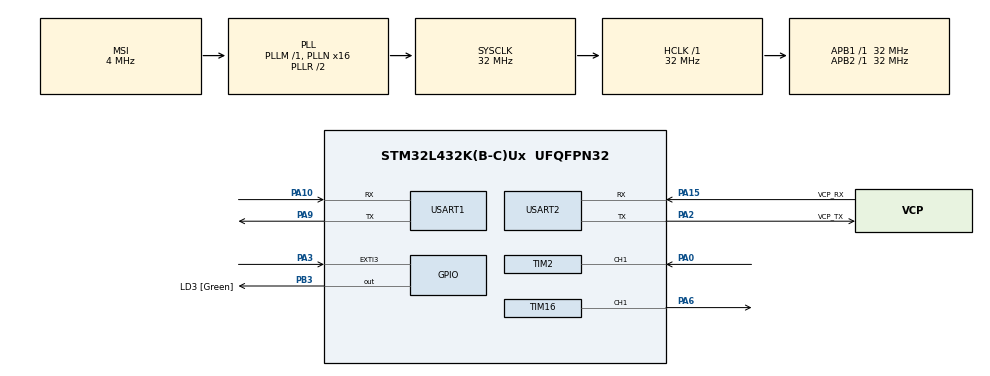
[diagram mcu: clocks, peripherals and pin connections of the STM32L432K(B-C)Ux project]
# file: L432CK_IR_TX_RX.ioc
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Dma.Request0=USART1_RX
Dma.Request1=USART1_TX
Dma.USART1_RX.0.Direction=DMA_PERIPH_TO_MEMORY
Dma.USART1_RX.0.Instance=DMA1_Channel5
Dma.USART1_RX.0.MemDataAlignment=DMA_MDATAALIGN_BYTE
Dma.USART1_RX.0.MemInc=DMA_MINC_ENABLE
Dma.USART1_RX.0.Mode=DMA_CIRCULAR
Dma.USART1_RX.0.PeriphDataAlignment=DMA_PDATAALIGN_BYTE
Dma.USART1_RX.0.PeriphInc=DMA_PINC_DISABLE
Dma.USART1_RX.0.Priority=DMA_PRIORITY_HIGH
Dma.USART1_TX.1.Direction=DMA_MEMORY_TO_PERIPH
Dma.USART1_TX.1.Instance=DMA1_Channel4
Dma.USART1_TX.1.MemDataAlignment=DMA_MDATAALIGN_BYTE
Dma.USART1_TX.1.MemInc=DMA_MINC_ENABLE
Dma.USART1_TX.1.Mode=DMA_NORMAL
Dma.USART1_TX.1.PeriphDataAlignment=DMA_PDATAALIGN_BYTE
Dma.USART1_TX.1.PeriphInc=DMA_PINC_DISABLE
Dma.USART1_TX.1.Priority=DMA_PRIORITY_LOW
Mcu.Family=STM32L4
Mcu.Name=STM32L432K(B-C)Ux
Mcu.Package=UFQFPN32
NVIC.DMA1_Channel4_IRQn=true\:0\:0\:false\:false\:true\:false\:true\:true
NVIC.DMA1_Channel5_IRQn=true\:0\:0\:false\:false\:true\:false\:true\:true
NVIC.EXTI3_IRQn=true\:3\:0\:true\:false\:true\:true\:true\:true
NVIC.PriorityGroup=NVIC_PRIORITYGROUP_4
NVIC.TIM1_BRK_TIM15_IRQn=true\:2\:0\:true\:false\:true\:true\:true\:true
NVIC.TIM2_IRQn=true\:1\:0\:true\:false\:true\:true\:true\:true
NVIC.USART1_IRQn=true\:0\:0\:false\:false\:true\:true\:true\:true
PA0.Signal=S_TIM2_CH1
PA10.Mode=Asynchronous
PA10.Signal=USART1_RX
PA13\ (JTMS-SWDIO).GPIO_Label=SWDIO
PA13\ (JTMS-SWDIO).Mode=Serial_Wire
PA13\ (JTMS-SWDIO).Signal=SYS_JTMS-SWDIO
PA14\ (JTCK-SWCLK).GPIO_Label=SWCLK
PA14\ (JTCK-SWCLK).Mode=Serial_Wire
PA14\ (JTCK-SWCLK).Signal=SYS_JTCK-SWCLK
PA15\ (JTDI).GPIO_Label=VCP_RX
PA15\ (JTDI).Mode=Asynchronous
PA15\ (JTDI).Signal=USART2_RX
PA2.GPIO_Label=VCP_TX
PA2.Mode=Asynchronous
PA2.Signal=USART2_TX
PA3.Signal=GPXTI3
PA6.Signal=S_TIM16_CH1
PA9.Mode=Asynchronous
PA9.Signal=USART1_TX
PB3\ (JTDO-TRACESWO).GPIO_Label=LD3 [Green]
PB3\ (JTDO-TRACESWO).Signal=GPIO_Output
ProjectManager.HeapSize=0x200
ProjectManager.StackSize=0x400
ProjectManager.TargetToolchain=MDK-ARM V5.32
RCC.AHBFreq_Value=32000000
RCC.APB1Freq_Value=32000000
RCC.APB1TimFreq_Value=32000000
RCC.APB2Freq_Value=32000000
RCC.APB2TimFreq_Value=32000000
RCC.CortexFreq_Value=32000000
RCC.HCLKFreq_Value=32000000
RCC.HSE_VALUE=8000000
RCC.HSI16_VALUE=16000000
RCC.HSI48_VALUE=48000000
RCC.HSI_VALUE=16000000
RCC.LSE_VALUE=32768
RCC.MSI_VALUE=4000000
RCC.PLLMUL=RCC_PLLMUL_4
RCC.PLLN=16
RCC.SYSCLKFreq_VALUE=32000000
RCC.SYSCLKSource=RCC_SYSCLKSOURCE_PLLCLK
RCC.VCOOutputFreq_Value=64000000
SH.S_TIM16_CH1.0=TIM16_CH1,PWM Generation1 CH1
SH.S_TIM2_CH1.0=TIM2_CH1,PWM_Input_1
TIM15.AutoReloadPreload=TIM_AUTORELOAD_PRELOAD_ENABLE
TIM15.Period=888
TIM15.Prescaler=31
TIM15.TIM_MasterOutputTrigger=TIM_TRGO_RESET
TIM16.AutoReloadPreload=TIM_AUTORELOAD_PRELOAD_ENABLE
TIM16.Channel=TIM_CHANNEL_1
TIM16.Period=842
TIM16.Pulse=210
TIM2.ICPolarity_1=TIM_INPUTCHANNELPOLARITY_FALLING
TIM2.Period=3700
TIM2.Prescaler=31
TIM2.TIM_MasterOutputTrigger=TIM_TRGO_RESET
USART1.VirtualMode-Asynchronous=VM_ASYNC
USART2.VirtualMode-Asynchronous=VM_ASYNC
VP_TIM15_VS_ClockSourceINT.Mode=Internal
VP_TIM16_VS_ClockSourceINT.Mode=Enable_Timer
VP_TIM2_VS_ClockSourceINT.Mode=Internal
board=NUCLEO-L432KC

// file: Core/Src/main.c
/* USER CODE BEGIN Header */
/**
  ******************************************************************************
  * @file           : main.c
  * @brief          : Main program body
  ******************************************************************************
  * @attention
  *
  * Copyright (c) 2026 STMicroelectronics.
  * All rights reserved.
  *
  * This software is licensed under terms that can be found in the LICENSE file
  * in the root directory of this software component.
  * If no LICENSE file comes with this software, it is provided AS-IS.
  *
  ******************************************************************************
  */
/* USER CODE END Header */
#include "main.h"

/* USER CODE BEGIN Includes */
#include "ir_transceiver.h"
#include "rc5_decode.h"
#include "rc5_encode.h"
#include <stdio.h>
#include <ctype.h>
#include <stdarg.h>
#include <string.h>
#include <stdlib.h>  // NODIG voor atoi

/* USER CODE END Includes */

/* USER CODE BEGIN PD */

#define PLAYER_NAME_MAX_LEN 16U
#define PLAYER_MAX_HITPOINTS 5U

/* USER CODE END PD */

TIM_HandleTypeDef htim2;
TIM_HandleTypeDef htim15;
TIM_HandleTypeDef htim16;

UART_HandleTypeDef huart1;
UART_HandleTypeDef huart2;
DMA_HandleTypeDef hdma_usart1_rx;
DMA_HandleTypeDef hdma_usart1_tx;
DMA_HandleTypeDef hdma_usart2_tx;

/* USER CODE BEGIN PV */
// Variabelen voor de IR-zender (RC5)
uint8_t toggle_bit = 0;
uint8_t tx_command = 0;    // Wordt aangepast via Bluetooth commando

// Button handling
static volatile uint8_t button_pressed = 0;
static uint32_t last_button_tick = 0;
#define DEBOUNCE_MS 300

// Bluetooth & Opdracht 3 variabelen
#define RX_BUF_SIZE 64
#define BLE_CMD_LINE_SIZE 128
#define BLE_TX_LINE_SIZE 512
#define BLE_TX_QUEUE_DEPTH 4
#define USART2_TX_LINE_SIZE 128U
#define USART2_DEBUG_QUEUE_DEPTH 4U
#define USART2_HUD_QUEUE_DEPTH 2U

uint8_t rx_buffer[RX_BUF_SIZE];      // De buffer waar DMA de Bluetooth data dumpt
uint32_t player_hits[32] = {0};      // Hit-tracking: index is het RC5 adres (0-31)

typedef struct
{
  char name[PLAYER_NAME_MAX_LEN + 1U];
  uint32_t team_color_rgb;
  uint8_t hitpoints;
  uint8_t max_hitpoints;
  uint8_t rc5_address;
} PlayerState_t;

static PlayerState_t player_state =
{
  "ALEX",
  0x001F00UL,
  PLAYER_MAX_HITPOINTS,
  PLAYER_MAX_HITPOINTS,
  0U
};

typedef struct
{
  char data[BLE_TX_LINE_SIZE];
  uint16_t length;
} BleTxSlot_t;

typedef struct
{
  char data[USART2_TX_LINE_SIZE];
  uint16_t length;
} Usart2TxSlot_t;

static uint16_t ble_dma_last_pos = 0;
static char ble_cmd_line[BLE_CMD_LINE_SIZE];
static uint16_t ble_cmd_line_len = 0;
static BleTxSlot_t ble_tx_queue[BLE_TX_QUEUE_DEPTH];
static uint8_t ble_tx_head = 0;
static uint8_t ble_tx_tail = 0;
static uint8_t ble_tx_count = 0;
static volatile uint8_t ble_tx_busy = 0;
static uint32_t ble_last_rx_tick = 0;
static Usart2TxSlot_t usart2_debug_queue[USART2_DEBUG_QUEUE_DEPTH];
static Usart2TxSlot_t usart2_hud_queue[USART2_HUD_QUEUE_DEPTH];
static uint8_t usart2_debug_head = 0U;
static uint8_t usart2_debug_tail = 0U;
static uint8_t usart2_debug_count = 0U;
static uint8_t usart2_hud_head = 0U;
static uint8_t usart2_hud_tail = 0U;
static uint8_t usart2_hud_count = 0U;
static volatile uint8_t usart2_tx_busy = 0U;
static volatile uint8_t usart2_tx_active_is_hud = 0U;
static char usart2_stdio_line[USART2_TX_LINE_SIZE];
static uint16_t usart2_stdio_len = 0U;

/* USER CODE END PV */

void SystemClock_Config(void);
static void MX_GPIO_Init(void);
static void MX_DMA_Init(void);
static void MX_USART2_UART_Init(void);
static void MX_TIM2_Init(void);
static void MX_TIM15_Init(void);
static void MX_TIM16_Init(void);
static void MX_USART1_UART_Init(void);
/* USER CODE BEGIN PFP */
static void ProcessBleUartRxDma(void);
static void BleUart_QueueFormatted(const char *fmt, ...);
static void BleUart_ServiceTx(void);
void send_debug(const char *fmt, ...);
void send_hud(const char *fmt, ...);
static void BleUart_HandleCommand(char *line);
static char *BleUart_Trim(char *text);
static uint8_t BleUart_ParseUnsignedArgument(const char *text, unsigned long *value);
static uint8_t BleUart_ParseQuotedTextArgument(const char *text, char *output, size_t output_size);
static uint8_t BleUart_ParseColorArgument(const char *text, uint32_t *value);
static void Player_ResetHitpoints(void);
static void Player_RegisterHit(void);
static void Player_ApplyDisplayState(void);
static void Player_SetName(const char *new_name);
static void Player_SetTeamColor(uint32_t new_color);
static void Player_SetRc5Address(uint8_t new_address);
static void Player_ApplyRc5Hit(void);
static void BleUart_FinalizeLine(void);

/* USER CODE END PFP */

/* USER CODE BEGIN 0 */
static void BleUart_FinalizeLine(void)
{
  if (ble_cmd_line_len == 0U)
  {
    return;
  }

  ble_cmd_line[ble_cmd_line_len] = '\0';
  BleUart_HandleCommand(ble_cmd_line);
  ble_cmd_line_len = 0U;
}

static void ProcessBleUartRxDma(void)
{
  uint16_t dma_pos = (uint16_t)(RX_BUF_SIZE - __HAL_DMA_GET_COUNTER(&hdma_usart1_rx));

  if (dma_pos == ble_dma_last_pos)
  {
    return;
  }

  while (ble_dma_last_pos != dma_pos)
  {
    uint8_t byte = rx_buffer[ble_dma_last_pos];

    if ((byte == '\r') || (byte == '\n') || (byte == '\0'))
    {
      BleUart_FinalizeLine();
    }
    else if (ble_cmd_line_len < (BLE_CMD_LINE_SIZE - 1U))
    {
      ble_cmd_line[ble_cmd_line_len++] = (char)byte;
      ble_last_rx_tick = HAL_GetTick();
    }
    else
    {
      ble_cmd_line_len = 0U;
      BleUart_QueueFormatted("ERROR command_too_long");
    }

    ble_dma_last_pos++;
    if (ble_dma_last_pos >= RX_BUF_SIZE)
    {
      ble_dma_last_pos = 0U;
    }
  }
}

static char *BleUart_Trim(char *text)
{
  while ((*text != '\0') && isspace((unsigned char)*text))
  {
    text++;
  }

  char *end = text + strlen(text);
  while ((end > text) && isspace((unsigned char)end[-1]))
  {
    end--;
  }

  *end = '\0';
  return text;
}

static uint8_t BleUart_ParseUnsignedArgument(const char *text, unsigned long *value)
{
  if ((text == NULL) || (value == NULL))
  {
    return 0U;
  }

  while ((*text != '\0') && isspace((unsigned char)*text))
  {
    text++;
  }

  if (*text == '"')
  {
    text++;
  }

  char *endptr = NULL;
  unsigned long parsed = strtoul(text, &endptr, 0);
  if (endptr == text)
  {
    return 0U;
  }

  if (*endptr == '"')
  {
    endptr++;
  }

  while ((*endptr != '\0') && isspace((unsigned char)*endptr))
  {
    endptr++;
  }

  if (*endptr != '\0')
  {
    return 0U;
  }

  *value = parsed;
  return 1U;
}

static uint8_t BleUart_ParseTextArgument(const char *text, char *output, size_t output_size)
{
  if ((text == NULL) || (output == NULL) || (output_size == 0U))
  {
    return 0U;
  }

  while ((*text != '\0') && isspace((unsigned char)*text))
  {
    text++;
  }

  size_t length = 0U;
  if (*text == '"')
  {
    text++;

    while ((text[length] != '\0') && (text[length] != '"'))
    {
      if (length >= (output_size - 1U))
      {
        return 0U;
      }

      length++;
    }

    if (text[length] != '"')
    {
      return 0U;
    }
  }
  else
  {
    const char *end = text + strlen(text);
    while ((end > text) && isspace((unsigned char)end[-1]))
    {
      end--;
    }

    length = (size_t)(end - text);
    if ((length == 0U) || (length >= output_size))
    {
      return 0U;
    }
  }

  memcpy(output, text, length);
  output[length] = '\0';

  text += length;
  if (*text == '"')
  {
    text++;
  }

  while ((*text != '\0') && isspace((unsigned char)*text))
  {
    text++;
  }

  return (*text == '\0') ? 1U : 0U;
}

static uint8_t BleUart_ParseColorArgument(const char *text, uint32_t *value)
{
  if ((text == NULL) || (value == NULL))
  {
    return 0U;
  }

  while ((*text != '\0') && isspace((unsigned char)*text))
  {
    text++;
  }

  if (*text == '"')
  {
    text++;
  }

  if (*text == '#')
  {
    text++;
  }
  else if ((text[0] == '0') && ((text[1] == 'x') || (text[1] == 'X')))
  {
    text += 2U;
  }

  if (!isxdigit((unsigned char)*text))
  {
    return 0U;
  }

  char *endptr = NULL;
  unsigned long parsed = strtoul(text, &endptr, 16);
  if (endptr == text)
  {
    return 0U;
  }

  if (*endptr == '"')
  {
    endptr++;
  }

  while ((*endptr != '\0') && isspace((unsigned char)*endptr))
  {
    endptr++;
  }

  if (*endptr != '\0')
  {
    return 0U;
  }

  *value = (uint32_t)(parsed & 0x00FFFFFFUL);
  return 1U;
}

static void Player_ApplyDisplayState(void)
{
  send_hud("HUD:NAME:%s", player_state.name);
  send_hud("HUD:COLOR:#%06lX", (unsigned long)player_state.team_color_rgb);
  send_hud("HUD:HP:%u/%u", player_state.hitpoints, player_state.max_hitpoints);
  send_hud("HUD:ADDRESS:%u", player_state.rc5_address);
}

static void Player_SetName(const char *new_name)
{
  if (new_name == NULL)
  {
    return;
  }

  strncpy(player_state.name, new_name, sizeof(player_state.name) - 1U);
  player_state.name[sizeof(player_state.name) - 1U] = '\0';
  Player_ApplyDisplayState();
}

static void Player_SetTeamColor(uint32_t new_color)
{
  player_state.team_color_rgb = (new_color & 0x00FFFFFFUL);
  Player_ApplyDisplayState();
}

static void Player_SetRc5Address(uint8_t new_address)
{
  player_state.rc5_address = (uint8_t)(new_address & 0x1FU);
  Player_ApplyDisplayState();
}

static void Player_ApplyRc5Hit(void)
{
  if (player_state.hitpoints > 0U)
  {
    player_state.hitpoints--;
  }

  Player_ApplyDisplayState();
}

static void Player_ResetHitpoints(void)
{
  player_state.hitpoints = player_state.max_hitpoints;
  Player_ApplyDisplayState();
}

static void Player_RegisterHit(void)
{
  Player_ApplyRc5Hit();
}

static void BleUart_ServiceTx(void)
{
  if (ble_tx_busy || (ble_tx_count == 0U))
  {
    return;
  }

  if (HAL_UART_Transmit_DMA(&huart1,
                            (uint8_t *)ble_tx_queue[ble_tx_tail].data,
                            ble_tx_queue[ble_tx_tail].length) == HAL_OK)
  {
    ble_tx_busy = 1U;
  }
}

static void BleUart_QueueFormatted(const char *fmt, ...)
{
  if (fmt == NULL)
  {
    return;
  }

  if (ble_tx_count >= BLE_TX_QUEUE_DEPTH)
  {
    return;
  }

  BleTxSlot_t *slot = &ble_tx_queue[ble_tx_head];
  va_list args;
  va_start(args, fmt);
  int written = vsnprintf(slot->data, BLE_TX_LINE_SIZE - 3U, fmt, args);
  va_end(args);

  if (written < 0)
  {
    return;
  }

  if (written > (int)(BLE_TX_LINE_SIZE - 3U))
  {
    written = (int)(BLE_TX_LINE_SIZE - 3U);
  }

  slot->data[written++] = '\r';
  slot->data[written++] = '\n';
  slot->data[written] = '\0';
  slot->length = (uint16_t)written;

  ble_tx_head = (uint8_t)((ble_tx_head + 1U) % BLE_TX_QUEUE_DEPTH);
  ble_tx_count++;
  BleUart_ServiceTx();
}

static void Usart2_ServiceTx(void)
{
  Usart2TxSlot_t *slot = NULL;
  uint32_t primask = __get_PRIMASK();

  __disable_irq();
  if (usart2_tx_busy != 0U)
  {
    __set_PRIMASK(primask);
    return;
  }

  if (usart2_hud_count > 0U)
  {
    slot = &usart2_hud_queue[usart2_hud_tail];
    usart2_tx_active_is_hud = 1U;
  }
  else if (usart2_debug_count > 0U)
  {
    slot = &usart2_debug_queue[usart2_debug_tail];
    usart2_tx_active_is_hud = 0U;
  }
  else
  {
    __set_PRIMASK(primask);
    return;
  }

  usart2_tx_busy = 1U;
  __set_PRIMASK(primask);

  if (HAL_UART_Transmit_DMA(&huart2, (uint8_t *)slot->data, slot->length) != HAL_OK)
  {
    primask = __get_PRIMASK();
    __disable_irq();
    usart2_tx_busy = 0U;
    __set_PRIMASK(primask);
  }
}

static void Usart2_TxComplete(void)
{
  uint32_t primask = __get_PRIMASK();

  __disable_irq();
  if (usart2_tx_active_is_hud != 0U)
  {
    if (usart2_hud_count > 0U)
    {
      usart2_hud_tail = (uint8_t)((usart2_hud_tail + 1U) % USART2_HUD_QUEUE_DEPTH);
      usart2_hud_count--;
    }
  }
  else if (usart2_debug_count > 0U)
  {
    usart2_debug_tail = (uint8_t)((usart2_debug_tail + 1U) % USART2_DEBUG_QUEUE_DEPTH);
    usart2_debug_count--;
  }

  usart2_tx_busy = 0U;
  __set_PRIMASK(primask);

  Usart2_ServiceTx();
}

static void Usart2_QueueFormatted(uint8_t is_hud, const char *fmt, va_list args)
{
  char line[USART2_TX_LINE_SIZE];
  int written;

  if (fmt == NULL)
  {
    return;
  }

  written = vsnprintf(line, sizeof(line), fmt, args);

  if (written < 0)
  {
    return;
  }

  if (written >= (int)sizeof(line))
  {
    written = (int)sizeof(line) - 1;
  }

  while ((written > 0) && ((line[written - 1] == '\n') || (line[written - 1] == '\r')))
  {
    written--;
  }

  if (written <= 0)
  {
    return;
  }

  uint32_t primask = __get_PRIMASK();
  __disable_irq();

  if (is_hud != 0U)
  {
    if (usart2_hud_count >= USART2_HUD_QUEUE_DEPTH)
    {
      usart2_hud_tail = (uint8_t)((usart2_hud_tail + 1U) % USART2_HUD_QUEUE_DEPTH);
      usart2_hud_count--;
    }

    Usart2TxSlot_t *slot = &usart2_hud_queue[usart2_hud_head];
    memcpy(slot->data, line, (size_t)written);
    slot->data[written++] = '\r';
    slot->data[written++] = '\n';
    slot->data[written] = '\0';
    slot->length = (uint16_t)written;

    usart2_hud_head = (uint8_t)((usart2_hud_head + 1U) % USART2_HUD_QUEUE_DEPTH);
    usart2_hud_count++;
  }
  else
  {
    if (usart2_debug_count >= USART2_DEBUG_QUEUE_DEPTH)
    {
      __set_PRIMASK(primask);
      return;
    }

    Usart2TxSlot_t *slot = &usart2_debug_queue[usart2_debug_head];
    memcpy(slot->data, line, (size_t)written);
    slot->data[written++] = '\r';
    slot->data[written++] = '\n';
    slot->data[written] = '\0';
    slot->length = (uint16_t)written;

    usart2_debug_head = (uint8_t)((usart2_debug_head + 1U) % USART2_DEBUG_QUEUE_DEPTH);
    usart2_debug_count++;
  }

  __set_PRIMASK(primask);
  Usart2_ServiceTx();
}

void send_debug(const char *fmt, ...)
{
  va_list args;
  va_start(args, fmt);
  Usart2_QueueFormatted(0U, fmt, args);
  va_end(args);
}

void send_hud(const char *fmt, ...)
{
  va_list args;
  va_list args_copy;
  char buf[BLE_TX_LINE_SIZE];

  va_start(args, fmt);
  /* create a copy for formatting so we can forward to both queues */
  va_copy(args_copy, args);

  /* format into a stable buffer */
  int written = vsnprintf(buf, sizeof(buf), fmt, args_copy);
  (void)written;
  va_end(args_copy);

  /* queue for USART2 (HUD channel) using existing va_list API */
  Usart2_QueueFormatted(1U, fmt, args);
  va_end(args);

  /* also send the same line to the BLE/UART1 transmit queue so bridges/TFTs receive it */
  BleUart_QueueFormatted("%s", buf);
}

static void BleUart_HandleCommand(char *line)
{
  char *command = BleUart_Trim(line);

  if (*command == '\0')
  {
    return;
  }

  if (strcmp(command, "current_settings") == 0)
  {
    BleUart_QueueFormatted("current_settings address=%u command=%u", player_state.rc5_address, tx_command);
    return;
  }

  if ((strcmp(command, "current_hits") == 0) || (strcmp(command, "hits") == 0))
  {
    char response[BLE_TX_LINE_SIZE];
    int offset = snprintf(response, sizeof(response), "current_hits");

    for (uint8_t address = 0U; address < 32U; address++)
    {
      if ((offset < 0) || (offset >= (int)sizeof(response)))
      {
        break;
      }

      offset += snprintf(&response[offset], sizeof(response) - (size_t)offset,
                         " %u=%lu", address, (unsigned long)player_hits[address]);
    }

    BleUart_QueueFormatted("%s", response);
    return;
  }

  if ((strcmp(command, "reset_hits") == 0) || (strcmp(command, "RESET") == 0) || (strcmp(command, "reset") == 0))
  {
    memset(player_hits, 0, sizeof(player_hits));
    Player_ResetHitpoints();
    BleUart_QueueFormatted("reset_hits OK");
    return;
  }

  if ((strncmp(command, "set_name:", 9U) == 0) || (strncmp(command, "NAME:", 5U) == 0) || (strncmp(command, "name:", 5U) == 0))
  {
    char new_name[PLAYER_NAME_MAX_LEN + 1U];
    const char *value = (command[0] == 's') ? (command + 9U) : (command + 5U);
    if (!BleUart_ParseTextArgument(value, new_name, sizeof(new_name)))
    {
      BleUart_QueueFormatted("ERROR invalid_name");
      return;
    }

    Player_SetName(new_name);
    BleUart_QueueFormatted("set_name OK %s", player_state.name);
    return;
  }

  if ((strncmp(command, "set_team_color:", 15U) == 0) || (strncmp(command, "COLOR:", 6U) == 0) || (strncmp(command, "color:", 6U) == 0))
  {
    uint32_t new_color = 0U;
    const char *value = (command[0] == 's') ? (command + 15U) : (command + 6U);
    if (!BleUart_ParseColorArgument(value, &new_color))
    {
      BleUart_QueueFormatted("ERROR invalid_color");
      return;
    }

    Player_SetTeamColor(new_color);
    BleUart_QueueFormatted("set_team_color OK #%06lX", (unsigned long)player_state.team_color_rgb);
    return;
  }

  if ((strcmp(command, "simulate_hit") == 0) || (strcmp(command, "HIT") == 0) || (strcmp(command, "hit") == 0))
  {
    Player_RegisterHit();
    BleUart_QueueFormatted("simulate_hit OK hp=%u", player_state.hitpoints);
    return;
  }

  if ((strncmp(command, "set_address:", 12U) == 0) || (strncmp(command, "ADDRESS:", 8U) == 0) || (strncmp(command, "address:", 8U) == 0))
  {
    unsigned long value = 0U;
    const char *value_text = (command[0] == 's') ? (command + 12U) : (command + 8U);
    if (!BleUart_ParseUnsignedArgument(value_text, &value) || (value > 31UL))
    {
      BleUart_QueueFormatted("ERROR invalid_address");
      return;
    }

    Player_SetRc5Address((uint8_t)value);
    BleUart_QueueFormatted("set_address OK %u", player_state.rc5_address);
    return;
  }

  if ((strncmp(command, "set_command:", 12U) == 0) || (strncmp(command, "COMMAND:", 8U) == 0) || (strncmp(command, "command:", 8U) == 0))
  {
    unsigned long value = 0U;
    const char *value_text = (command[0] == 's') ? (command + 12U) : (command + 8U);
    if (!BleUart_ParseUnsignedArgument(value_text, &value) || (value > 63UL))
    {
      BleUart_QueueFormatted("ERROR invalid_command");
      return;
    }

    tx_command = (uint8_t)value;
    BleUart_QueueFormatted("set_command OK %u", tx_command);
    return;
  }

  BleUart_QueueFormatted("ERROR unknown_command");
}

void HAL_GPIO_EXTI_Callback(uint16_t GPIO_Pin)
{
  if (GPIO_Pin == GPIO_PIN_3)  /* PA3 — BTN_TX */
  {
    if (HAL_GPIO_ReadPin(GPIOA, GPIO_PIN_3) != GPIO_PIN_SET) return;

    uint32_t now = HAL_GetTick();
    if ((now - last_button_tick) < DEBOUNCE_MS) return;
    last_button_tick = now;

    if (button_pressed) return;
    button_pressed = 1;
  }
}
/* USER CODE END 0 */

int main(void)
{

  /* MCU Configuration--------------------------------------------------------*/

  /* Reset of all peripherals, Initializes the Flash interface and the Systick. */
  HAL_Init();

  /* Configure the system clock */
  SystemClock_Config();

  /* Initialize all configured peripherals */
  MX_GPIO_Init();
  MX_DMA_Init();
  MX_USART2_UART_Init();
  MX_TIM2_Init();
  MX_TIM15_Init();
  MX_TIM16_Init();
  MX_USART1_UART_Init();
  /* USER CODE BEGIN 2 */
  IR_Transceiver_Init();

  /* --- OPDRACHT 1: Start DMA voor LilyGO (huart1) --- */

  // 1. Start de cirkelvormige ontvangst.
  // De STM32 staat nu klaar om bytes van de ESP32 te ontvangen in de rx_buffer.
  HAL_UART_Receive_DMA(&huart1, rx_buffer, RX_BUF_SIZE);
  ble_dma_last_pos = 0;
  ble_last_rx_tick = HAL_GetTick();

  // 2. Optioneel: Stuur een opstartbericht naar de telefoon (als de app al verbonden is)
  BleUart_QueueFormatted("Hello BLE");
  Player_ApplyDisplayState();

  send_debug("USART2 TX DMA ready");

  /* USER CODE END 2 */

  /* Infinite loop */
  /* USER CODE BEGIN WHILE */
  while (1)
  {
    ProcessBleUartRxDma();
    if ((ble_cmd_line_len > 0U) && ((HAL_GetTick() - ble_last_rx_tick) >= 80U))
    {
      BleUart_FinalizeLine();
    }
    BleUart_ServiceTx();

    /* --- State machine processing --- */
    IR_Transceiver_Process();

    /* --- TX trigger (Schieten) --- */
    if (button_pressed && IR_GetState() == IR_STATE_IDLE)
    {
      IR_StartTransmit(toggle_bit, player_state.rc5_address, tx_command);

        toggle_bit ^= 1;
        button_pressed = 0;

        // Debug bericht naar PC
        send_debug("[TX] Addr:0x%02X Cmd:0x%02X", player_state.rc5_address, tx_command);
    }

    /* --- RX frame received (Geraakt worden) --- */
    if (RC5FrameReceived && IR_GetState() == IR_STATE_IDLE)
    {
        RC5_Decode(&RC5_FRAME);

        // Update de hit-counter voor dit adres
        if (RC5_FRAME.Address < 32) {
            player_hits[RC5_FRAME.Address]++;
        }

        if (RC5_FRAME.Address == player_state.rc5_address)
        {
          Player_RegisterHit();
        }

        // Toon info in de seriële monitor van je PC
          send_debug("[RX] Hit van Addr:0x%02X | Totaal hits: %lu | HP: %u",
            RC5_FRAME.Address, player_hits[RC5_FRAME.Address], player_state.hitpoints);

        /* LED knipper bij hit */
        HAL_GPIO_WritePin(LD3_GPIO_Port, LD3_Pin, GPIO_PIN_SET);
        HAL_Delay(100);
        HAL_GPIO_WritePin(LD3_GPIO_Port, LD3_Pin, GPIO_PIN_RESET);

        RC5FrameReceived = 0;
    }

    BleUart_ServiceTx();
  }
  /* USER CODE END 3 */
}

void SystemClock_Config(void)
{
  RCC_OscInitTypeDef RCC_OscInitStruct = {0};
  RCC_ClkInitTypeDef RCC_ClkInitStruct = {0};

  /** Configure the main internal regulator output voltage
  */
  if (HAL_PWREx_ControlVoltageScaling(PWR_REGULATOR_VOLTAGE_SCALE1) != HAL_OK)
  {
    Error_Handler();
  }

  /** Initializes the RCC Oscillators according to the specified parameters
  * in the RCC_OscInitTypeDef structure.
  */
  RCC_OscInitStruct.OscillatorType = RCC_OSCILLATORTYPE_MSI;
  RCC_OscInitStruct.MSIState = RCC_MSI_ON;
  RCC_OscInitStruct.MSICalibrationValue = 0;
  RCC_OscInitStruct.MSIClockRange = RCC_MSIRANGE_6;
  RCC_OscInitStruct.PLL.PLLState = RCC_PLL_ON;
  RCC_OscInitStruct.PLL.PLLSource = RCC_PLLSOURCE_MSI;
  RCC_OscInitStruct.PLL.PLLM = 1;
  RCC_OscInitStruct.PLL.PLLN = 16;
  RCC_OscInitStruct.PLL.PLLP = RCC_PLLP_DIV7;
  RCC_OscInitStruct.PLL.PLLQ = RCC_PLLQ_DIV2;
  RCC_OscInitStruct.PLL.PLLR = RCC_PLLR_DIV2;
  if (HAL_RCC_OscConfig(&RCC_OscInitStruct) != HAL_OK)
  {
    Error_Handler();
  }

  /** Initializes the CPU, AHB and APB buses clocks
  */
  RCC_ClkInitStruct.ClockType = RCC_CLOCKTYPE_HCLK|RCC_CLOCKTYPE_SYSCLK
                              |RCC_CLOCKTYPE_PCLK1|RCC_CLOCKTYPE_PCLK2;
  RCC_ClkInitStruct.SYSCLKSource = RCC_SYSCLKSOURCE_PLLCLK;
  RCC_ClkInitStruct.AHBCLKDivider = RCC_SYSCLK_DIV1;
  RCC_ClkInitStruct.APB1CLKDivider = RCC_HCLK_DIV1;
  RCC_ClkInitStruct.APB2CLKDivider = RCC_HCLK_DIV1;

  if (HAL_RCC_ClockConfig(&RCC_ClkInitStruct, FLASH_LATENCY_1) != HAL_OK)
  {
    Error_Handler();
  }
}

static void MX_TIM2_Init(void)
{

  TIM_ClockConfigTypeDef sClockSourceConfig = {0};
  TIM_SlaveConfigTypeDef sSlaveConfig = {0};
  TIM_IC_InitTypeDef sConfigIC = {0};
  TIM_MasterConfigTypeDef sMasterConfig = {0};

  htim2.Instance = TIM2;
  htim2.Init.Prescaler = 31;
  htim2.Init.CounterMode = TIM_COUNTERMODE_UP;
  htim2.Init.Period = 3700;
  htim2.Init.ClockDivision = TIM_CLOCKDIVISION_DIV1;
  htim2.Init.AutoReloadPreload = TIM_AUTORELOAD_PRELOAD_DISABLE;
  if (HAL_TIM_Base_Init(&htim2) != HAL_OK)
  {
    Error_Handler();
  }
  sClockSourceConfig.ClockSource = TIM_CLOCKSOURCE_INTERNAL;
  if (HAL_TIM_ConfigClockSource(&htim2, &sClockSourceConfig) != HAL_OK)
  {
    Error_Handler();
  }
  if (HAL_TIM_IC_Init(&htim2) != HAL_OK)
  {
    Error_Handler();
  }
  sSlaveConfig.SlaveMode = TIM_SLAVEMODE_RESET;
  sSlaveConfig.InputTrigger = TIM_TS_TI1FP1;
  sSlaveConfig.TriggerPolarity = TIM_INPUTCHANNELPOLARITY_FALLING;
  sSlaveConfig.TriggerPrescaler = TIM_ICPSC_DIV1;
  sSlaveConfig.TriggerFilter = 0;
  if (HAL_TIM_SlaveConfigSynchro(&htim2, &sSlaveConfig) != HAL_OK)
  {
    Error_Handler();
  }
  sConfigIC.ICPolarity = TIM_INPUTCHANNELPOLARITY_FALLING;
  sConfigIC.ICSelection = TIM_ICSELECTION_DIRECTTI;
  sConfigIC.ICPrescaler = TIM_ICPSC_DIV1;
  sConfigIC.ICFilter = 0;
  if (HAL_TIM_IC_ConfigChannel(&htim2, &sConfigIC, TIM_CHANNEL_1) != HAL_OK)
  {
    Error_Handler();
  }
  sConfigIC.ICPolarity = TIM_INPUTCHANNELPOLARITY_RISING;
  sConfigIC.ICSelection = TIM_ICSELECTION_INDIRECTTI;
  if (HAL_TIM_IC_ConfigChannel(&htim2, &sConfigIC, TIM_CHANNEL_2) != HAL_OK)
  {
    Error_Handler();
  }
  sMasterConfig.MasterOutputTrigger = TIM_TRGO_RESET;
  sMasterConfig.MasterSlaveMode = TIM_MASTERSLAVEMODE_DISABLE;
  if (HAL_TIMEx_MasterConfigSynchronization(&htim2, &sMasterConfig) != HAL_OK)
  {
    Error_Handler();
  }
  /* USER CODE BEGIN TIM2_Init 2 */

  /* Re-apply slave reset mode AFTER IC channel config, because
     HAL_TIM_IC_ConfigChannel on CH1 can clobber SMCR. */
  {
    TIM_SlaveConfigTypeDef sSlaveRe = {0};
    sSlaveRe.SlaveMode        = TIM_SLAVEMODE_RESET;
    sSlaveRe.InputTrigger     = TIM_TS_TI1FP1;
    sSlaveRe.TriggerPolarity  = TIM_TRIGGERPOLARITY_FALLING;
    sSlaveRe.TriggerPrescaler = TIM_ICPSC_DIV1;
    sSlaveRe.TriggerFilter    = 0;
    HAL_TIM_SlaveConfigSynchro(&htim2, &sSlaveRe);
  }

  /* USER CODE END TIM2_Init 2 */

}

static void MX_TIM15_Init(void)
{

  TIM_ClockConfigTypeDef sClockSourceConfig = {0};
  TIM_MasterConfigTypeDef sMasterConfig = {0};

  htim15.Instance = TIM15;
  htim15.Init.Prescaler = 31;
  htim15.Init.CounterMode = TIM_COUNTERMODE_UP;
  htim15.Init.Period = 888;
  htim15.Init.ClockDivision = TIM_CLOCKDIVISION_DIV1;
  htim15.Init.RepetitionCounter = 0;
  htim15.Init.AutoReloadPreload = TIM_AUTORELOAD_PRELOAD_ENABLE;
  if (HAL_TIM_Base_Init(&htim15) != HAL_OK)
  {
    Error_Handler();
  }
  sClockSourceConfig.ClockSource = TIM_CLOCKSOURCE_INTERNAL;
  if (HAL_TIM_ConfigClockSource(&htim15, &sClockSourceConfig) != HAL_OK)
  {
    Error_Handler();
  }
  sMasterConfig.MasterOutputTrigger = TIM_TRGO_RESET;
  sMasterConfig.MasterSlaveMode = TIM_MASTERSLAVEMODE_DISABLE;
  if (HAL_TIMEx_MasterConfigSynchronization(&htim15, &sMasterConfig) != HAL_OK)
  {
    Error_Handler();
  }

}

static void MX_TIM16_Init(void)
{

  TIM_OC_InitTypeDef sConfigOC = {0};
  TIM_BreakDeadTimeConfigTypeDef sBreakDeadTimeConfig = {0};

  htim16.Instance = TIM16;
  htim16.Init.Prescaler = 0;
  htim16.Init.CounterMode = TIM_COUNTERMODE_UP;
  htim16.Init.Period = 842;
  htim16.Init.ClockDivision = TIM_CLOCKDIVISION_DIV1;
  htim16.Init.RepetitionCounter = 0;
  htim16.Init.AutoReloadPreload = TIM_AUTORELOAD_PRELOAD_ENABLE;
  if (HAL_TIM_Base_Init(&htim16) != HAL_OK)
  {
    Error_Handler();
  }
  if (HAL_TIM_PWM_Init(&htim16) != HAL_OK)
  {
    Error_Handler();
  }
  sConfigOC.OCMode = TIM_OCMODE_PWM1;
  sConfigOC.Pulse = 210;
  sConfigOC.OCPolarity = TIM_OCPOLARITY_HIGH;
  sConfigOC.OCNPolarity = TIM_OCNPOLARITY_HIGH;
  sConfigOC.OCFastMode = TIM_OCFAST_DISABLE;
  sConfigOC.OCIdleState = TIM_OCIDLESTATE_RESET;
  sConfigOC.OCNIdleState = TIM_OCNIDLESTATE_RESET;
  if (HAL_TIM_PWM_ConfigChannel(&htim16, &sConfigOC, TIM_CHANNEL_1) != HAL_OK)
  {
    Error_Handler();
  }
  sBreakDeadTimeConfig.OffStateRunMode = TIM_OSSR_DISABLE;
  sBreakDeadTimeConfig.OffStateIDLEMode = TIM_OSSI_DISABLE;
  sBreakDeadTimeConfig.LockLevel = TIM_LOCKLEVEL_OFF;
  sBreakDeadTimeConfig.DeadTime = 0;
  sBreakDeadTimeConfig.BreakState = TIM_BREAK_DISABLE;
  sBreakDeadTimeConfig.BreakPolarity = TIM_BREAKPOLARITY_HIGH;
  sBreakDeadTimeConfig.AutomaticOutput = TIM_AUTOMATICOUTPUT_DISABLE;
  if (HAL_TIMEx_ConfigBreakDeadTime(&htim16, &sBreakDeadTimeConfig) != HAL_OK)
  {
    Error_Handler();
  }
  HAL_TIM_MspPostInit(&htim16);

}

static void MX_USART1_UART_Init(void)
{

  huart1.Instance = USART1;
  huart1.Init.BaudRate = 115200;
  huart1.Init.WordLength = UART_WORDLENGTH_8B;
  huart1.Init.StopBits = UART_STOPBITS_1;
  huart1.Init.Parity = UART_PARITY_NONE;
  huart1.Init.Mode = UART_MODE_TX_RX;
  huart1.Init.HwFlowCtl = UART_HWCONTROL_NONE;
  huart1.Init.OverSampling = UART_OVERSAMPLING_16;
  huart1.Init.OneBitSampling = UART_ONE_BIT_SAMPLE_DISABLE;
  huart1.AdvancedInit.AdvFeatureInit = UART_ADVFEATURE_NO_INIT;
  if (HAL_UART_Init(&huart1) != HAL_OK)
  {
    Error_Handler();
  }

}

static void MX_USART2_UART_Init(void)
{

  huart2.Instance = USART2;
  huart2.Init.BaudRate = 115200;
  huart2.Init.WordLength = UART_WORDLENGTH_8B;
  huart2.Init.StopBits = UART_STOPBITS_1;
  huart2.Init.Parity = UART_PARITY_NONE;
  huart2.Init.Mode = UART_MODE_TX_RX;
  huart2.Init.HwFlowCtl = UART_HWCONTROL_NONE;
  huart2.Init.OverSampling = UART_OVERSAMPLING_16;
  huart2.Init.OneBitSampling = UART_ONE_BIT_SAMPLE_DISABLE;
  huart2.AdvancedInit.AdvFeatureInit = UART_ADVFEATURE_NO_INIT;
  if (HAL_UART_Init(&huart2) != HAL_OK)
  {
    Error_Handler();
  }

}

static void MX_DMA_Init(void)
{

  /* DMA controller clock enable */
  __HAL_RCC_DMA1_CLK_ENABLE();

  /* DMA interrupt init */
  /* DMA1_Channel4_IRQn interrupt configuration */
  HAL_NVIC_SetPriority(DMA1_Channel4_IRQn, 0, 0);
  HAL_NVIC_EnableIRQ(DMA1_Channel4_IRQn);
  /* DMA1_Channel5_IRQn interrupt configuration */
  HAL_NVIC_SetPriority(DMA1_Channel5_IRQn, 0, 0);
  HAL_NVIC_EnableIRQ(DMA1_Channel5_IRQn);

}

static void MX_GPIO_Init(void)
{
  GPIO_InitTypeDef GPIO_InitStruct = {0};

  /* GPIO Ports Clock Enable */
  __HAL_RCC_GPIOA_CLK_ENABLE();
  __HAL_RCC_GPIOB_CLK_ENABLE();

  /*Configure GPIO pin Output Level */
  HAL_GPIO_WritePin(LD3_GPIO_Port, LD3_Pin, GPIO_PIN_RESET);

  /*Configure GPIO pin : PA3 */
  GPIO_InitStruct.Pin = GPIO_PIN_3;
  GPIO_InitStruct.Mode = GPIO_MODE_IT_RISING;
  GPIO_InitStruct.Pull = GPIO_NOPULL;
  HAL_GPIO_Init(GPIOA, &GPIO_InitStruct);

  /*Configure GPIO pin : LD3_Pin */
  GPIO_InitStruct.Pin = LD3_Pin;
  GPIO_InitStruct.Mode = GPIO_MODE_OUTPUT_PP;
  GPIO_InitStruct.Pull = GPIO_NOPULL;
  GPIO_InitStruct.Speed = GPIO_SPEED_FREQ_LOW;
  HAL_GPIO_Init(LD3_GPIO_Port, &GPIO_InitStruct);

  /* EXTI interrupt init*/
  HAL_NVIC_SetPriority(EXTI3_IRQn, 3, 0);
  HAL_NVIC_EnableIRQ(EXTI3_IRQn);

}

/* USER CODE BEGIN 4 */
void HAL_UART_TxCpltCallback(UART_HandleTypeDef *huart)
{
  if (huart->Instance == USART1)
  {
    if (ble_tx_count > 0U)
    {
      ble_tx_tail = (uint8_t)((ble_tx_tail + 1U) % BLE_TX_QUEUE_DEPTH);
      ble_tx_count--;
    }

    ble_tx_busy = 0U;
  }
  else if (huart->Instance == USART2)
  {
    Usart2_TxComplete();
  }
}

void HAL_UART_ErrorCallback(UART_HandleTypeDef *huart)
{
  if (huart->Instance == USART1)
  {
    ble_tx_busy = 0U;
  }
  else if (huart->Instance == USART2)
  {
    Usart2_TxComplete();
  }
}

int __io_putchar(int ch)
{
  if (ch == '\r')
  {
    return ch;
  }

  if (ch == '\n')
  {
    if (usart2_stdio_len > 0U)
    {
      usart2_stdio_line[usart2_stdio_len] = '\0';
      send_debug("%s", usart2_stdio_line);
      usart2_stdio_len = 0U;
    }

    return ch;
  }

  if (usart2_stdio_len >= (USART2_TX_LINE_SIZE - 1U))
  {
    usart2_stdio_line[usart2_stdio_len] = '\0';
    send_debug("%s", usart2_stdio_line);
    usart2_stdio_len = 0U;
  }

  usart2_stdio_line[usart2_stdio_len++] = (char)ch;
  return ch;
}

/* USER CODE END 4 */

void Error_Handler(void)
{
  __disable_irq();
  while (1)
  {
  }
}
